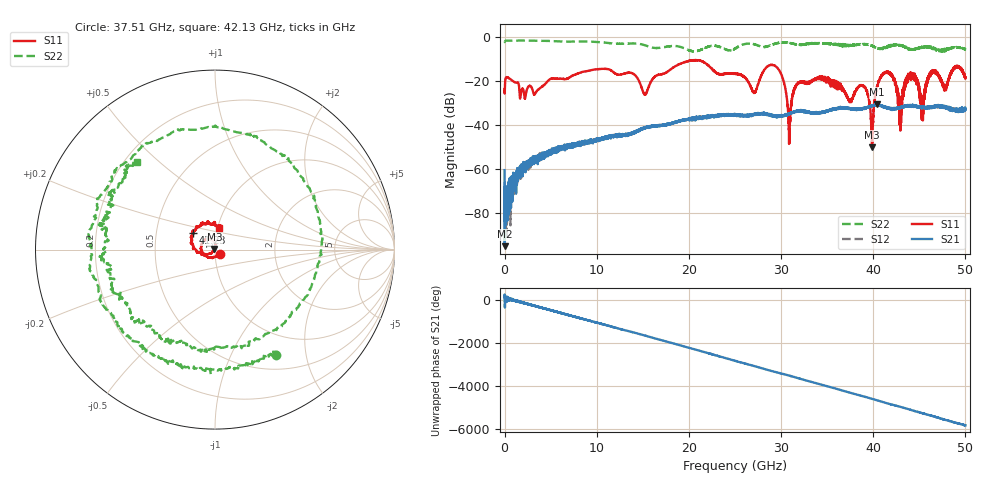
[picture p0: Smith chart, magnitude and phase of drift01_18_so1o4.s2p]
!Created with skrf (http://scikit-rf.org).
# Hz S RI R 50.0
!freq ReS11 ImS11 ReS21 ImS21 ReS12 ImS12 ReS22 ImS22
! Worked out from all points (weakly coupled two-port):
!   10001 points, 300 kHz to 50 GHz, reference 50 ohm
!   highest |S21| = -30.53 dB at 40.43 GHz (marker M1); lowest = -95.4 dB at 20.3 MHz (marker M2)
!   lowest |S11| = -50.2 dB at 39.87 GHz (marker M3), VSWR 1.01, Z = 49.7 + j0.0782 ohm
!   |S11| at or under -10 dB: start of sweep to end of sweep
!   |S22| runs from -6.5 to -1.4 dB; largest |S21 - S12| = 0.0047
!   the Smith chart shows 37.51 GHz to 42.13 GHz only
!   S11 on the Smith chart (normalised r, x): 37.51 GHz: 1.06, -0.05; 41.23 GHz: 0.77, +0.15; 42.13 GHz: 1.02, +0.25
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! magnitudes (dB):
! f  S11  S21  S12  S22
! 300 kHz  -23.6  -60.6  -65.9  -2.0
! 20.3 MHz  -23.8  -95.4  -83.0  -1.9
! 8.335 GHz  -15.9  -48.5  -48.5  -1.8
! 16.67 GHz  -17.1  -40.1  -40.3  -4.8
! 25 GHz  -16.6  -35.1  -35.6  -5.1
! 27.11 GHz  -25.2  -35.3  -35.3  -3.1
! 29.42 GHz  -13.2  -35.7  -36.1  -2.8
! 30.91 GHz  -45.5  -34.9  -34.9  -2.6
! 31.67 GHz  -21.6  -33.7  -33.7  -3.2
! 33.34 GHz  -19.7  -34.7  -34.4  -2.7
! 37.51 GHz  -28.9  -32.7  -32.5  -3.4
! 38.95 GHz  -22.1  -32.5  -32.2  -3.1
! 39.87 GHz  -50.2  -31.2  -31.1  -3.8
! 40.43 GHz  -22.1  -30.5  -30.8  -4.8
! 41.23 GHz  -16.2  -31.6  -31.7  -4.5
! 41.67 GHz  -16.2  -32.3  -32.4  -4.4
! 42.13 GHz  -18.2  -32.7  -32.6  -3.7
! 42.92 GHz  -34.3  -32.2  -32.1  -3.6
! 44.04 GHz  -15.9  -31.2  -31.1  -5.4
! 45.31 GHz  -33.6  -32.0  -32.2  -4.5
! 46.42 GHz  -15.7  -31.6  -31.6  -4.7
! 50 GHz  -18.2  -33.0  -32.6  -5.3
